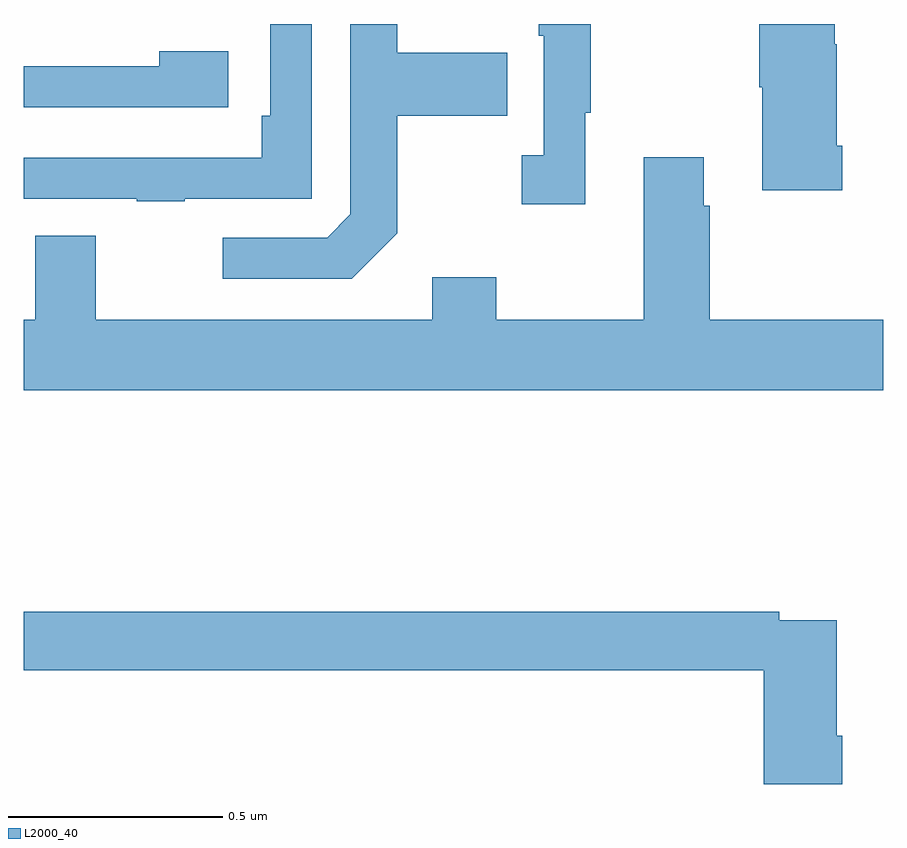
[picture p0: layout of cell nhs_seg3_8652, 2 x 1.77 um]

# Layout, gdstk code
import gdstk
lib = gdstk.Library(unit=1e-6, precision=1e-09)
def P(c, l, *ps):  # polygons
    for p in ps: c.add(gdstk.Polygon(p, *l))
L2000_40 = (2000, 40)

nhs_seg3_8652 = lib.new_cell('nhs_seg3_8652')
P(nhs_seg3_8652, L2000_40, [(219.905,736.117),(219.892,736.117),(219.892,736.353),(219.887,736.353),(219.887,736.4),(219.712,736.4),(219.712,736.253),(219.719,736.253),(219.719,736.013),(219.905,736.013)],
  [(218.375,735.993),(218.67,735.993),(218.67,736.4),(218.574,736.4),(218.574,736.186),(218.554,736.186),(218.554,736.089),(218,736.089),(218,735.993),(218.263,735.993),(218.263,735.988),(218.375,735.988)],
  [(219.307,736.193),(219.319,736.193),(219.319,736.4),(219.198,736.4),(219.198,736.373),(219.21,736.373),(219.21,736.094),(219.159,736.094),(219.159,735.981),(219.307,735.981)],
  [(218.869,735.913),(218.869,736.186),(219.125,736.186),(219.125,736.333),(218.869,736.333),(218.869,736.4),(218.76,736.4),(218.76,735.957),(218.706,735.903),(218.463,735.903),(218.463,735.807),(218.763,735.807)],
  [(218.476,736.336),(218.315,736.336),(218.315,736.302),(218,736.302),(218,736.206),(218.476,736.206)],
  [(220,735.712),(219.596,735.712),(219.596,735.977),(219.583,735.977),(219.583,736.09),(219.443,736.09),(219.443,735.712),(219.099,735.712),(219.099,735.811),(218.951,735.811),(218.951,735.712),(218.167,735.712),(218.167,735.907),(218.027,735.907),(218.027,735.712),(218,735.712),(218,735.548),(220,735.548)],
  [(219.905,734.743),(219.892,734.743),(219.892,735.012),(219.758,735.012),(219.758,735.032),(218,735.032),(218,734.896),(219.722,734.896),(219.722,734.631),(219.905,734.631)])

lib.write_gds('nhs_seg3_8652.gds')
